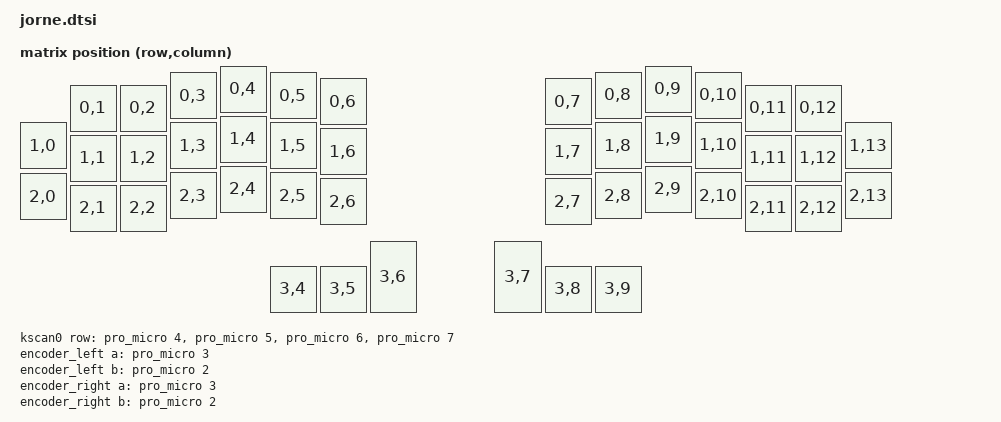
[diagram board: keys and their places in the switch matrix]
#include <physical_layouts.dtsi>
#include <dt-bindings/zmk/matrix_transform.h>

/ {
    chosen {
        zmk,physical-layout = &physical_layout0;
        zmk,kscan = &kscan0;
    };

    // Wired split removed - using Bluetooth split instead
    // wired_split {
    //     compatible = "zmk,wired-split";
    //     device = <&pro_micro_serial>;
    // };
    

    kscan0: kscan0 {
        compatible = "zmk,kscan-gpio-matrix";
        diode-direction = "col2row";
        wakeup-source;

        row-gpios
            = <&pro_micro 4 (GPIO_ACTIVE_HIGH | GPIO_PULL_DOWN)>
            , <&pro_micro 5 (GPIO_ACTIVE_HIGH | GPIO_PULL_DOWN)>
            , <&pro_micro 6 (GPIO_ACTIVE_HIGH | GPIO_PULL_DOWN)>
            , <&pro_micro 7 (GPIO_ACTIVE_HIGH | GPIO_PULL_DOWN)>
            ;
    };

    encoder_left: encoder_left {
        compatible = "alps,ec11";
        a-gpios = <&pro_micro 3 (GPIO_ACTIVE_LOW | GPIO_PULL_UP)>;
        b-gpios = <&pro_micro 2 (GPIO_ACTIVE_LOW | GPIO_PULL_UP)>;
        steps = <80>;
        status = "disabled";
    };


    encoder_right: encoder_right {
        compatible = "alps,ec11";
        a-gpios = <&pro_micro 3 (GPIO_ACTIVE_LOW | GPIO_PULL_UP)>;
        b-gpios = <&pro_micro 2 (GPIO_ACTIVE_LOW | GPIO_PULL_UP)>;
        steps = <80>;
        status = "disabled";
    };

    sensors: sensors {
        compatible = "zmk,keymap-sensors";
        sensors = <&encoder_left &encoder_right>;
        triggers-per-rotation = <35>;
    };

    default_transform: keymap_transform_0 {
        compatible = "zmk,matrix-transform";
        columns = <14>;
        rows = <4>;
        map = <
        RC(0,1) RC(0,2) RC(0,3) RC(0,4) RC(0,5) RC(0,6)     RC(0,7) RC(0,8) RC(0,9) RC(0,10) RC(0,11) RC(0,12)
RC(1,0) RC(1,1) RC(1,2) RC(1,3) RC(1,4) RC(1,5) RC(1,6)     RC(1,7) RC(1,8) RC(1,9) RC(1,10) RC(1,11) RC(1,12) RC(1,13)
RC(2,0) RC(2,1) RC(2,2) RC(2,3) RC(2,4) RC(2,5) RC(2,6)     RC(2,7) RC(2,8) RC(2,9) RC(2,10) RC(2,11) RC(2,12) RC(2,13) 
                                RC(3,4) RC(3,5) RC(3,6)     RC(3,7) RC(3,8) RC(3,9)
        >;
    };



    physical_layout0: physical_layout_0 {
        compatible = "zmk,physical-layout";
        display-name = "LAYOUT";

        kscan = <&kscan0>;
        transform = <&default_transform>;

        keys  //                     w   h    x    y     rot    rx    ry
            = <&key_physical_attrs 100 100  100   38       0     0     0>
            , <&key_physical_attrs 100 100  200   38       0     0     0>
            , <&key_physical_attrs 100 100  300   13       0     0     0>
            , <&key_physical_attrs 100 100  400    0       0     0     0>
            , <&key_physical_attrs 100 100  500   13       0     0     0>
            , <&key_physical_attrs 100 100  600   25       0     0     0>
            , <&key_physical_attrs 100 100 1050   25       0     0     0>
            , <&key_physical_attrs 100 100 1150   12       0     0     0>
            , <&key_physical_attrs 100 100 1250    0       0     0     0>
            , <&key_physical_attrs 100 100 1350   12       0     0     0>
            , <&key_physical_attrs 100 100 1450   38       0     0     0>
            , <&key_physical_attrs 100 100 1550   38       0     0     0>
            , <&key_physical_attrs 100 100    0  113       0     0     0>
            , <&key_physical_attrs 100 100  100  138       0     0     0>
            , <&key_physical_attrs 100 100  200  138       0     0     0>
            , <&key_physical_attrs 100 100  300  113       0     0     0>
            , <&key_physical_attrs 100 100  400  100       0     0     0>
            , <&key_physical_attrs 100 100  500  113       0     0     0>
            , <&key_physical_attrs 100 100  600  125       0     0     0>
            , <&key_physical_attrs 100 100 1050  125       0     0     0>
            , <&key_physical_attrs 100 100 1150  113       0     0     0>
            , <&key_physical_attrs 100 100 1250  100       0     0     0>
            , <&key_physical_attrs 100 100 1350  112       0     0     0>
            , <&key_physical_attrs 100 100 1450  138       0     0     0>
            , <&key_physical_attrs 100 100 1550  138       0     0     0>
            , <&key_physical_attrs 100 100 1650  113       0     0     0>
            , <&key_physical_attrs 100 100    0  215       0     0     0>
            , <&key_physical_attrs 100 100  100  238       0     0     0>
            , <&key_physical_attrs 100 100  200  238       0     0     0>
            , <&key_physical_attrs 100 100  300  213       0     0     0>
            , <&key_physical_attrs 100 100  400  200       0     0     0>
            , <&key_physical_attrs 100 100  500  213       0     0     0>
            , <&key_physical_attrs 100 100  600  225       0     0     0>
            , <&key_physical_attrs 100 100 1050  225       0     0     0>
            , <&key_physical_attrs 100 100 1150  213       0     0     0>
            , <&key_physical_attrs 100 100 1250  200       0     0     0>
            , <&key_physical_attrs 100 100 1350  213       0     0     0>
            , <&key_physical_attrs 100 100 1450  238       0     0     0>
            , <&key_physical_attrs 100 100 1550  238       0     0     0>
            , <&key_physical_attrs 100 100 1650  213       0     0     0>
            , <&key_physical_attrs 100 100  500  400       0     0     0>
            , <&key_physical_attrs 100 100  600  400       0     0     0>
            , <&key_physical_attrs 100 150  700  350       0     0     0>
            , <&key_physical_attrs 100 150  950  350       0     0     0>
            , <&key_physical_attrs 100 100 1050  400       0     0     0>
            , <&key_physical_attrs 100 100 1150  400       0     0     0>
            ;
    };
};
